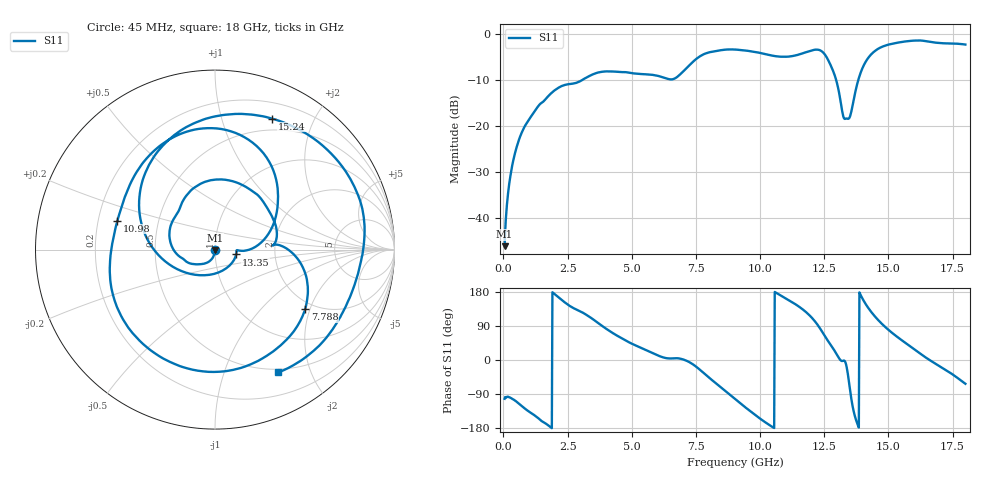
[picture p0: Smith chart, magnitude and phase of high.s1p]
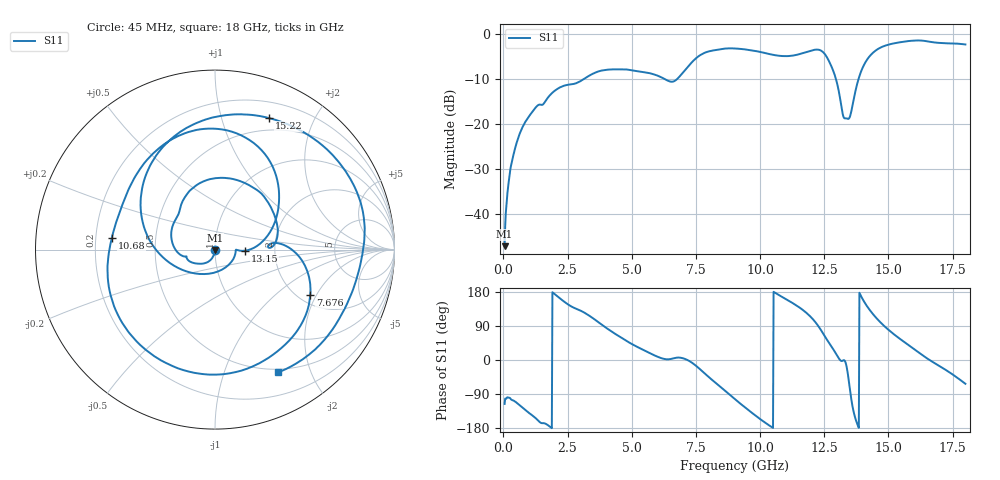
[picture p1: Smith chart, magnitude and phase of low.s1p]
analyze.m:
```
clear; close all; clc;
unwrap=0;
s11=read_touchstone("high.s1p");
s11.freq=s11.freq/1e9;

figure(1);
plot(s11.freq, 20*log(s11.mag),"linewidth",2);
xlim([0 s11.freq(end)]);
ylim([-60 0]);
xticks(0:5:18);
grid off;
grid minor on;
hold on;
plot(s11.freq, -10.*ones(1,length(s11.freq)),"linewidth",2);
xlabel("Frekvence (GHz)");
ylabel("Koeficient odrazu |S11| (dB)");

s11=read_touchstone("low.s1p");
s11.freq=s11.freq/1e9;
plot(s11.freq, 20*log(s11.mag),"linewidth",2);

saveas(gca, '/home/msboss/Documents/diplomova_prace/LaTeX/images/measurements/vna_high_low.eps','epsc');

figure(2);
s11=read_touchstone("low.s1p");
s11.freq=s11.freq/1e9;
plot(s11.freq, 20*log(s11.mag),"linewidth",2);
xlim([0 s11.freq(end)]);
ylim([-60 0]);
xticks(0:5:18);
grid off;
grid minor on;
hold on;

s11=read_touchstone("blank.s1p");
s11.freq=s11.freq/1e9;
plot(s11.freq, 20*log(s11.mag),"linewidth",2);

xlabel("Frekvence (GHz)");
ylabel("Koeficient odrazu |S11| (dB)");

saveas(gca, '/home/msboss/Documents/diplomova_prace/LaTeX/images/measurements/vna_low_blank.eps','epsc');
```
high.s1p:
!Agilent Technologies,E8364A,US41440284,A.06.04.32
!Agilent E8364A: A.06.04.32
!Date: Monday, November 18, 2019 12:37:32
!Correction: S11(Full 1 Port(1))
!S1P File: Measurement: S11:
# Hz S  MA  R 50
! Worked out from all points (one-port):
!   801 points, 45 MHz to 18 GHz, reference 50 ohm
!   lowest |S11| = -46.1 dB at 45 MHz (marker M1), VSWR 1.01, Z = 49.9 - j0.483 ohm
!   |S11| at or under -10 dB: start of sweep to 3.061 GHz; 12.96 GHz to 13.83 GHz (860.3 MHz wide, 6.42 % of centre)
!   S11 on the Smith chart (normalised r, x): 45 MHz: 1.00, -0.01; 7.788 GHz: 1.79, -1.85; 10.98 GHz: 0.28, +0.13; 13.35 GHz: 1.26, -0.07; 15.24 GHz: 0.37, +1.46; 18 GHz: 0.46, -1.54
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4.5e7  0.00496 -102.4
4.93875e8  0.05642 -109.1
1.414069e9  0.1726 -156.9
6.037481e9  0.3509 11.4
7.788094e9  0.6015 -33.4
9.000056e9  0.6802 -101.9
1.097511e10  0.5669 163.5
1.202996e10  0.6672 110.5
1.265839e10  0.5185 49.0
1.335414e10  0.1208 -12.8
1.413968e10  0.5139 145.0
1.523942e10  0.7961 66.5
1.642894e10  0.8414 7.8
1.8e10  0.7699 -62.8
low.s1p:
!Agilent Technologies,E8364A,US41440284,A.06.04.32
!Agilent E8364A: A.06.04.32
!Date: Monday, November 18, 2019 12:36:42
!Correction: S11(Full 1 Port(1))
!S1P File: Measurement: S11:
# Hz S  MA  R 50
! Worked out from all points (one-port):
!   801 points, 45 MHz to 18 GHz, reference 50 ohm
!   lowest |S11| = -47.2 dB at 45 MHz (marker M1), VSWR 1.01, Z = 49.8 - j0.39 ohm
!   |S11| at or under -10 dB: start of sweep to 3.121 GHz; 6.29 GHz to 6.764 GHz (474.2 MHz wide, 7.27 % of centre); 12.96 GHz to 13.83 GHz (878.3 MHz wide, 6.56 % of centre)
!   S11 on the Smith chart (normalised r, x): 45 MHz: 1.00, -0.01; 7.676 GHz: 2.31, -1.78; 10.68 GHz: 0.27, +0.05; 13.15 GHz: 1.40, -0.02; 15.22 GHz: 0.36, +1.43; 18 GHz: 0.46, -1.54
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4.5e7  0.004349 -115.9
4.265438e8  0.05011 -108.6
1.279406e9  0.1555 -154.9
3.950212e9  0.3998 87.4
6.037481e9  0.343 7.7
7.675875e9  0.5875 -25.3
8.932725e9  0.6962 -98.4
1.068334e10  0.5785 173.4
1.202996e10  0.6623 109.7
1.315215e10  0.1666 -2.0
1.413968e10  0.5062 144.7
1.521698e10  0.7921 67.8
1.642894e10  0.842 7.9
1.8e10  0.7694 -62.7
